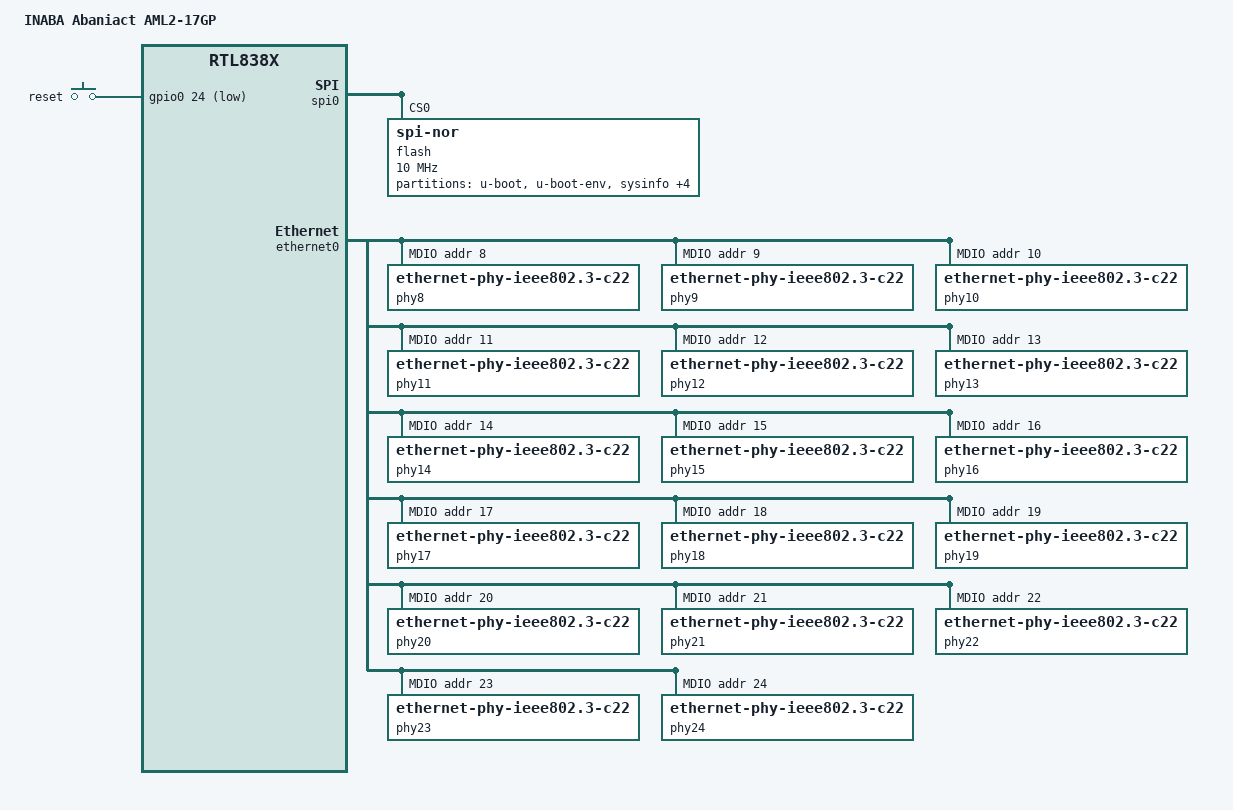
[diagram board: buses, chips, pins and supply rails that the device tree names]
// SPDX-License-Identifier: GPL-2.0-or-later
/dts-v1/;

#include "rtl838x.dtsi"

#include <dt-bindings/input/input.h>
#include <dt-bindings/gpio/gpio.h>

/ {
	compatible = "inaba,aml2-17gp", "realtek,rtl838x-soc";
	model = "INABA Abaniact AML2-17GP";

	chosen {
		bootargs = "console=ttyS0,115200";
	};

	keys {
		compatible = "gpio-keys-polled";
		poll-interval = <20>;

		reset {
			label = "reset";
			gpios = <&gpio0 24 GPIO_ACTIVE_LOW>;
			linux,code = <KEY_RESTART>;
		};
	};
};

&gpio0 {
	indirect-access-bus-id = <0>;
};

&spi0 {
	status = "okay";

	flash@0 {
		compatible = "jedec,spi-nor";
		reg = <0>;
		spi-max-frequency = <10000000>;

		partitions {
			compatible = "fixed-partitions";
			#address-cells = <1>;
			#size-cells = <1>;

			partition@0 {
				label = "u-boot";
				reg = <0x0 0x80000>;
				read-only;
			};

			partition@80000 {
				label = "u-boot-env";
				reg = <0x80000 0x10000>;
				read-only;
			};

			partition@90000 {
				label = "sysinfo";
				reg = <0x90000 0x10000>;
				read-only;
			};

			partition@a0000 {
				label = "jffs2_cfg";
				reg = <0xa0000 0x400000>;
				read-only;
			};

			partition@4a0000 {
				label = "jffs2_log";
				reg = <0x4a0000 0x100000>;
				read-only;
			};

			partition@5a0000 {
				compatible = "denx,uimage";
				label = "firmware";
				reg = <0x5a0000 0xd30000>;
			};

			partition@12d0000 {
				label = "runtime2";
				reg = <0x12d0000 0xd30000>;
			};
		};
	};
};

&ethernet0 {
	mdio: mdio-bus {
		compatible = "realtek,rtl838x-mdio";
		regmap = <&ethernet0>;
		#address-cells = <1>;
		#size-cells = <0>;

		/* Internal phy */
		phy8: ethernet-phy@8 {
			reg = <8>;
			compatible = "ethernet-phy-ieee802.3-c22";
		};

		phy9: ethernet-phy@9 {
			reg = <9>;
			compatible = "ethernet-phy-ieee802.3-c22";
		};

		phy10: ethernet-phy@10 {
			reg = <10>;
			compatible = "ethernet-phy-ieee802.3-c22";
		};

		phy11: ethernet-phy@11 {
			reg = <11>;
			compatible = "ethernet-phy-ieee802.3-c22";
		};

		phy12: ethernet-phy@12 {
			reg = <12>;
			compatible = "ethernet-phy-ieee802.3-c22";
		};

		phy13: ethernet-phy@13 {
			reg = <13>;
			compatible = "ethernet-phy-ieee802.3-c22";
		};

		phy14: ethernet-phy@14 {
			reg = <14>;
			compatible = "ethernet-phy-ieee802.3-c22";
		};

		phy15: ethernet-phy@15 {
			reg = <15>;
			compatible = "ethernet-phy-ieee802.3-c22";
		};

		/* external phy on rtl8218b */
		phy16: ethernet-phy@16 {
			reg = <16>;
			compatible = "ethernet-phy-ieee802.3-c22";
		};

		phy17: ethernet-phy@17 {
			reg = <17>;
			compatible = "ethernet-phy-ieee802.3-c22";
		};

		phy18: ethernet-phy@18 {
			reg = <18>;
			compatible = "ethernet-phy-ieee802.3-c22";
		};

		phy19: ethernet-phy@19 {
			reg = <19>;
			compatible = "ethernet-phy-ieee802.3-c22";
		};

		phy20: ethernet-phy@20 {
			reg = <20>;
			compatible = "ethernet-phy-ieee802.3-c22";
		};

		phy21: ethernet-phy@21 {
			reg = <21>;
			compatible = "ethernet-phy-ieee802.3-c22";
		};

		phy22: ethernet-phy@22 {
			reg = <22>;
			compatible = "ethernet-phy-ieee802.3-c22";
		};

		phy23: ethernet-phy@23 {
			reg = <23>;
			compatible = "ethernet-phy-ieee802.3-c22";
		};

		/* external phy on rtl8214fc */
		phy24: ethernet-phy@24 {
			reg = <24>;
			compatible = "ethernet-phy-ieee802.3-c22";
		};
	};
};

&switch0 {
	ports {
		#address-cells = <1>;
		#size-cells = <0>;

		port@0 {
			reg = <8>;
			label = "lan1";
			phy-handle = <&phy8>;
			phy-mode = "internal";
		};

		port@1 {
			reg = <9>;
			label = "lan2";
			phy-handle = <&phy9>;
			phy-mode = "internal";
		};

		port@2 {
			reg = <10>;
			label = "lan3";
			phy-handle = <&phy10>;
			phy-mode = "internal";
		};

		port@3 {
			reg = <11>;
			label = "lan4";
			phy-handle = <&phy11>;
			phy-mode = "internal";
		};

		port@4 {
			reg = <12>;
			label = "lan5";
			phy-handle = <&phy12>;
			phy-mode = "internal";
		};

		port@5 {
			reg = <13>;
			label = "lan6";
			phy-handle = <&phy13>;
			phy-mode = "internal";
		};

		port@6 {
			reg = <14>;
			label = "lan7";
			phy-handle = <&phy14>;
			phy-mode = "internal";
		};

		port@7 {
			reg = <15>;
			label = "lan8";
			phy-handle = <&phy15>;
			phy-mode = "internal";
		};

		port@8 {
			reg = <16>;
			label = "lan9";
			phy-handle = <&phy16>;
			phy-mode = "qsgmii";
		};

		port@9 {
			reg = <17>;
			label = "lan10";
			phy-handle = <&phy17>;
			phy-mode = "qsgmii";
		};

		port@10 {
			reg = <18>;
			label = "lan11";
			phy-handle = <&phy18>;
			phy-mode = "qsgmii";
		};

		port@11 {
			reg = <19>;
			label = "lan12";
			phy-handle = <&phy19>;
			phy-mode = "qsgmii";
		};

		port@12 {
			reg = <20>;
			label = "lan13";
			phy-handle = <&phy20>;
			phy-mode = "qsgmii";
		};

		port@13 {
			reg = <21>;
			label = "lan14";
			phy-handle = <&phy21>;
			phy-mode = "qsgmii";
		};

		port@14 {
			reg = <22>;
			label = "lan15";
			phy-handle = <&phy22>;
			phy-mode = "qsgmii";
		};

		port@15 {
			reg = <23>;
			label = "lan16";
			phy-handle = <&phy23>;
			phy-mode = "qsgmii";
		};

		port@16 {
			reg = <24>;
			label = "wan";
			phy-handle = <&phy24>;
			phy-mode = "qsgmii";
		};

		port@28 {
			ethernet = <&ethernet0>;
			reg = <28>;
			phy-mode = "internal";
			fixed-link {
				speed = <1000>;
				full-duplex;
			};
		};
	};
};
